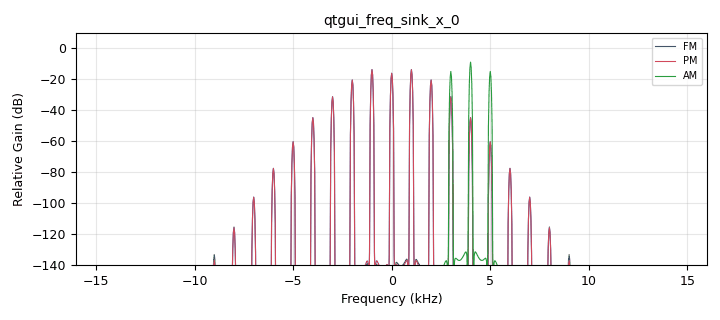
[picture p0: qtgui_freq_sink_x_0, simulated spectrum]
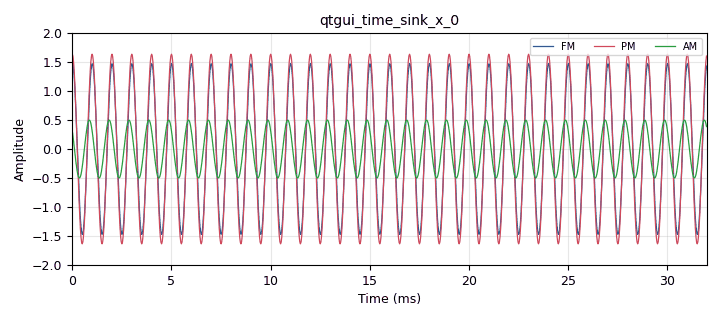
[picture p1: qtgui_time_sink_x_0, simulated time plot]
options:
  parameters:
    generate_options: qt_gui
    id: ex2_14
    output_language: python
    title: Figure 2.20 Various modulation schemes of same input signal
  states: {}

blocks:
- name: samp_rate
  id: variable
  parameters:
    value: '32000'
  states: {}
- name: analog_am_demod_cf_0
  id: analog_am_demod_cf
  parameters:
    audio_decim: '1'
    audio_pass: '8000'
    audio_stop: '9500'
    chan_rate: samp_rate
  states: {}
- name: analog_const_source_x_0
  id: analog_const_source_x
  parameters:
    const: '0'
    type: float
  states: {}
- name: analog_fm_demod_cf_0
  id: analog_fm_demod_cf
  parameters:
    audio_decim: '1'
    audio_pass: '8000'
    audio_stop: '9500'
    chan_rate: samp_rate
    deviation: '1000'
    gain: '1.0'
    tau: '75e-6'
  states: {}
- name: analog_frequency_modulator_fc_0
  id: analog_frequency_modulator_fc
  parameters:
    sensitivity: '.32'
  states: {}
- name: analog_phase_modulator_fc_0
  id: analog_phase_modulator_fc
  parameters:
    sensitivity: .32*5.1
  states: {}
- name: analog_sig_source_x_0
  id: analog_sig_source_x
  parameters:
    amp: '1'
    freq: '1000'
    offset: '0'
    phase: '0'
    samp_rate: samp_rate
    type: float
    waveform: analog.GR_COS_WAVE
  states: {}
- name: analog_sig_source_x_1
  id: analog_sig_source_x
  parameters:
    amp: '1'
    freq: '4000'
    offset: '0'
    phase: '0'
    samp_rate: samp_rate
    type: complex
    waveform: analog.GR_COS_WAVE
  states: {}
- name: blocks_add_const_vxx_0
  id: blocks_add_const_vxx
  parameters:
    const: '1'
    type: float
  states: {}
- name: blocks_complex_to_arg_0
  id: blocks_complex_to_arg
  parameters: {}
  states: {}
- name: blocks_float_to_complex_0
  id: blocks_float_to_complex
  parameters: {}
  states: {}
- name: blocks_multiply_xx_0
  id: blocks_multiply_xx
  parameters:
    type: complex
  states: {}
- name: blocks_throttle2_0
  id: blocks_throttle2
  parameters:
    samples_per_second: samp_rate
    type: complex
  states: {}
- name: qtgui_freq_sink_x_0
  id: qtgui_freq_sink_x
  parameters:
    bw: samp_rate
    fc: '0'
    fftsize: '1024'
    label1: FM
    label2: PM
    label3: AM
    nconnections: '3'
    type: complex
  states: {}
- name: qtgui_time_sink_x_0
  id: qtgui_time_sink_x
  parameters:
    label1: FM
    label2: PM
    label3: AM
    nconnections: '3'
    size: '1024'
    srate: samp_rate
    type: float
    ymax: '2'
    ymin: '-2'
  states: {}

connections:
- [analog_am_demod_cf_0, '0', qtgui_time_sink_x_0, '2']
- [analog_const_source_x_0, '0', blocks_float_to_complex_0, '1']
- [analog_fm_demod_cf_0, '0', qtgui_time_sink_x_0, '0']
- [analog_frequency_modulator_fc_0, '0', analog_fm_demod_cf_0, '0']
- [analog_frequency_modulator_fc_0, '0', qtgui_freq_sink_x_0, '0']
- [analog_phase_modulator_fc_0, '0', blocks_throttle2_0, '0']
- [analog_sig_source_x_0, '0', analog_frequency_modulator_fc_0, '0']
- [analog_sig_source_x_0, '0', analog_phase_modulator_fc_0, '0']
- [analog_sig_source_x_0, '0', blocks_add_const_vxx_0, '0']
- [analog_sig_source_x_1, '0', blocks_multiply_xx_0, '1']
- [blocks_add_const_vxx_0, '0', blocks_float_to_complex_0, '0']
- [blocks_complex_to_arg_0, '0', qtgui_time_sink_x_0, '1']
- [blocks_float_to_complex_0, '0', blocks_multiply_xx_0, '0']
- [blocks_multiply_xx_0, '0', analog_am_demod_cf_0, '0']
- [blocks_multiply_xx_0, '0', qtgui_freq_sink_x_0, '2']
- [blocks_throttle2_0, '0', blocks_complex_to_arg_0, '0']
- [blocks_throttle2_0, '0', qtgui_freq_sink_x_0, '1']

metadata:
  file_format: 1
  grc_version: 3.10.9.2
